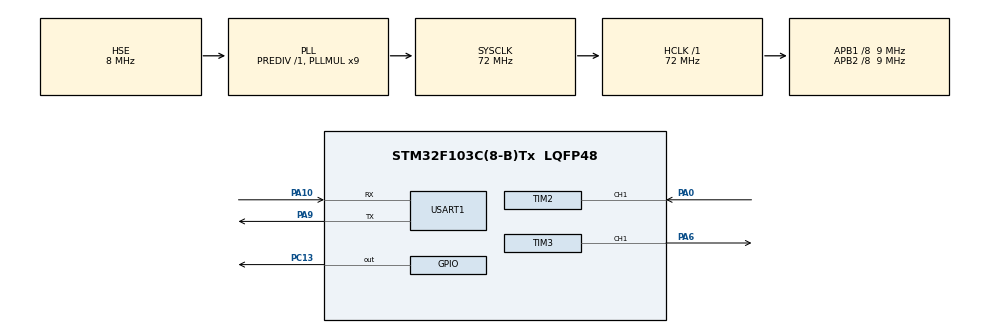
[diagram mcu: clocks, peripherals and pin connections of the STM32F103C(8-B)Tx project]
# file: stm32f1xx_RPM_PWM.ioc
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Mcu.Family=STM32F1
Mcu.Name=STM32F103C(8-B)Tx
Mcu.Package=LQFP48
NVIC.PriorityGroup=NVIC_PRIORITYGROUP_4
NVIC.TIM2_IRQn=true\:1\:0\:true\:false\:true\:true\:true
NVIC.USART1_IRQn=true\:2\:0\:true\:false\:false\:true\:false
PA0-WKUP.Signal=S_TIM2_CH1_ETR
PA10.Mode=Asynchronous
PA10.Signal=USART1_RX
PA13.Mode=Serial_Wire
PA13.Signal=SYS_JTMS-SWDIO
PA14.Mode=Serial_Wire
PA14.Signal=SYS_JTCK-SWCLK
PA6.GPIO_ModeDefaultPP=GPIO_MODE_AF_PP
PA6.Signal=S_TIM3_CH1
PA9.Mode=Asynchronous
PA9.Signal=USART1_TX
PC13-TAMPER-RTC.Signal=GPIO_Output
PD0-OSC_IN.Mode=HSE-External-Oscillator
PD0-OSC_IN.Signal=RCC_OSC_IN
PD1-OSC_OUT.Mode=HSE-External-Oscillator
PD1-OSC_OUT.Signal=RCC_OSC_OUT
ProjectManager.HeapSize=0x200
ProjectManager.StackSize=0x400
ProjectManager.TargetToolchain=STM32CubeIDE
RCC.AHBFreq_Value=72000000
RCC.APB1CLKDivider=RCC_HCLK_DIV8
RCC.APB1Freq_Value=9000000
RCC.APB1TimFreq_Value=18000000
RCC.APB2CLKDivider=RCC_HCLK_DIV8
RCC.APB2Freq_Value=9000000
RCC.APB2TimFreq_Value=18000000
RCC.HCLKFreq_Value=72000000
RCC.PLLMUL=RCC_PLL_MUL9
RCC.PLLSourceVirtual=RCC_PLLSOURCE_HSE
RCC.SYSCLKFreq_VALUE=72000000
RCC.SYSCLKSource=RCC_SYSCLKSOURCE_PLLCLK
RCC.USBFreq_Value=72000000
SH.S_TIM2_CH1_ETR.0=TIM2_CH1,Input_Capture1_from_TI1
SH.S_TIM2_CH1_ETR.1=TIM2_CH1,TriggerSource_TI1FP1
SH.S_TIM3_CH1.0=TIM3_CH1,PWM Generation1 CH1
TIM2.Channel-Input_Capture1_from_TI1=TIM_CHANNEL_1
TIM2.ICFilter_CH1=15
TIM2.ICPolarity_CH1=TIM_INPUTCHANNELPOLARITY_RISING
TIM2.Prescaler=179
TIM3.Channel-PWM\ Generation1\ CH1=TIM_CHANNEL_1
TIM3.OC1Preload_PWM=ENABLE
TIM3.Period=79
TIM3.Prescaler=8
TIM3.Pulse-PWM\ Generation1\ CH1=20
USART1.VirtualMode=VM_ASYNC
VP_TIM2_VS_ClockSourceINT.Mode=Internal
VP_TIM2_VS_ControllerModeReset.Mode=Reset Mode
VP_TIM3_VS_ClockSourceINT.Mode=Internal
board=custom

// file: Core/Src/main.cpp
/* USER CODE BEGIN Header */
/**
 *   control y monitoreo de velocidad motor de cpu (cuatro pines)
 *   en esta aplicacion se configura el el uart1 para trasnmitir el valor de las rpm
 *   y recibir uno o dos caracteres (texto) para convertirlo en entero y luego ser
 *   almacenado en el registro TIM3->CCR1 variando de esta forma el ancho de pulso.
 *   para esta ejemplo con el ventilador que utilice pude variar la velocidad del
 *   ventilador con un cambio en el ancho de pulso del 50 a 100% (1700 a 3500 rpm aprox)
 *   escribiendo valores de 40 a 79 en el registro TIM3->CCR1, cada paso representa
 *   un cambio en la modulacion del pulso de 0.5 us con una frecuencia de 25 khz.
 *
 *   el ventilador que use es de 4 hilos o cables negro=gnd , amarillo=12v,
 *   verde=sensor , azul=señal de control(pwm 25khz).
 *   la linea del sensor debe conectarce con una resistencia pull up de 5k aprox al
 *   pin PAO y la señar de salida pwm es PA6.
 *
 *   NOTA: observe que en la interfaz grafica en la ventana < NVIC Mode and configuration >
 *         esta deshabilitada  la casilla < Generate IRQhandler > para poder manejar
 *         la interrupcion del USART1 desde el archivo main.cpp, ademas se declara tambien
 *         la funcion USART1_IRQHandler( void ) en el main.h.
 *
 *   los demas parametros del los timers pueden ser obsevados y analizados desde
 *   la interfaz grafica
 *
 */
/* USER CODE END Header */
#include "main.h"

/* USER CODE BEGIN Includes */
#include "Serial.h"
#include <stdio.h>

/* USER CODE END Includes */

TIM_HandleTypeDef htim2;
TIM_HandleTypeDef htim3;

UART_HandleTypeDef huart1;

/* USER CODE BEGIN PV */

float periodo, valorCaptura;

uint16_t rpm;

Serial serial( &huart1 );

/* USER CODE END PV */

void SystemClock_Config(void);
static void MX_GPIO_Init(void);
static void MX_TIM2_Init(void);
static void MX_USART1_UART_Init(void);
static void MX_TIM3_Init(void);
/* USER CODE BEGIN PFP */

void HAL_TIM_IC_CaptureCallback( TIM_HandleTypeDef * htim );
void HAL_UART_RxCpltCallback( UART_HandleTypeDef * huart );
void USART1_IRQHandler( void );

/* USER CODE END PFP */

int main(void)
{

  /* MCU Configuration--------------------------------------------------------*/

  /* Reset of all peripherals, Initializes the Flash interface and the Systick. */
  HAL_Init();

  /* Configure the system clock */
  SystemClock_Config();

  /* Initialize all configured peripherals */
  MX_GPIO_Init();
  MX_TIM2_Init();
  MX_USART1_UART_Init();
  MX_TIM3_Init();
  /* USER CODE BEGIN 2 */
    /* inicia el timer en modo captura generando una interrupcion en cada flanco
     * de subida de la señal de entrada.
     */
    if ( HAL_TIM_IC_Start_IT( &htim2, TIM_CHANNEL_1 ) != HAL_OK )  //pin A0
    {
        /* Starting Error */
        Error_Handler();
    }
    /* inicia la señal pwm a 25 khz por el canal 1 */
    if ( HAL_TIM_PWM_Start( &htim3, TIM_CHANNEL_1 ) != HAL_OK )  //pin A0
    {
        /* Starting Error */
        Error_Handler();
    }
    /* en mi caso el valor desde donde empieza a variar la velocidad del ventilador
     *  es de 44 hasta 79  ( 1700 a 3500 aprox ) depende del ventilador
     *  utilizado
     */
    __HAL_TIM_SET_COMPARE( &htim3, TIM_CHANNEL_1, 60 ); // señal pwm 25 khz
    __HAL_UART_ENABLE_IT( &huart1, UART_IT_RXNE );
  /* USER CODE END 2 */

  /* Infinite loop */
  /* USER CODE BEGIN WHILE */
    while ( 1 )
    {
        /*
         *  multiplico el valor de la captura por 0.00001 para determinar el periodo
         * de la señal en segundos. el valor de 0.00001 es la resolucion del
         * contador , es decir que cada cuenta o paso del contador son 10 us.
         */
        periodo = valorCaptura * 0.00001; // calculamos el periodo en segundos
        rpm = 60 / periodo; // frecuencia = 1 / periodo --- rpm = 60 / periodo
        serial.print( "rpm: %d \r\n", rpm );
        HAL_Delay( 500 );
    /* USER CODE END WHILE */

    }
}

void SystemClock_Config(void)
{
  RCC_OscInitTypeDef RCC_OscInitStruct = {0};
  RCC_ClkInitTypeDef RCC_ClkInitStruct = {0};

  /** Initializes the RCC Oscillators according to the specified parameters
  * in the RCC_OscInitTypeDef structure.
  */
  RCC_OscInitStruct.OscillatorType = RCC_OSCILLATORTYPE_HSE;
  RCC_OscInitStruct.HSEState = RCC_HSE_ON;
  RCC_OscInitStruct.HSEPredivValue = RCC_HSE_PREDIV_DIV1;
  RCC_OscInitStruct.HSIState = RCC_HSI_ON;
  RCC_OscInitStruct.PLL.PLLState = RCC_PLL_ON;
  RCC_OscInitStruct.PLL.PLLSource = RCC_PLLSOURCE_HSE;
  RCC_OscInitStruct.PLL.PLLMUL = RCC_PLL_MUL9;
  if (HAL_RCC_OscConfig(&RCC_OscInitStruct) != HAL_OK)
  {
    Error_Handler();
  }
  /** Initializes the CPU, AHB and APB buses clocks
  */
  RCC_ClkInitStruct.ClockType = RCC_CLOCKTYPE_HCLK|RCC_CLOCKTYPE_SYSCLK
                              |RCC_CLOCKTYPE_PCLK1|RCC_CLOCKTYPE_PCLK2;
  RCC_ClkInitStruct.SYSCLKSource = RCC_SYSCLKSOURCE_PLLCLK;
  RCC_ClkInitStruct.AHBCLKDivider = RCC_SYSCLK_DIV1;
  RCC_ClkInitStruct.APB1CLKDivider = RCC_HCLK_DIV8;
  RCC_ClkInitStruct.APB2CLKDivider = RCC_HCLK_DIV8;

  if (HAL_RCC_ClockConfig(&RCC_ClkInitStruct, FLASH_LATENCY_2) != HAL_OK)
  {
    Error_Handler();
  }
}

static void MX_TIM2_Init(void)
{

  TIM_ClockConfigTypeDef sClockSourceConfig = {0};
  TIM_SlaveConfigTypeDef sSlaveConfig = {0};
  TIM_MasterConfigTypeDef sMasterConfig = {0};
  TIM_IC_InitTypeDef sConfigIC = {0};

  htim2.Instance = TIM2;
  htim2.Init.Prescaler = 179;
  htim2.Init.CounterMode = TIM_COUNTERMODE_UP;
  htim2.Init.Period = 65535;
  htim2.Init.ClockDivision = TIM_CLOCKDIVISION_DIV1;
  htim2.Init.AutoReloadPreload = TIM_AUTORELOAD_PRELOAD_DISABLE;
  if (HAL_TIM_Base_Init(&htim2) != HAL_OK)
  {
    Error_Handler();
  }
  sClockSourceConfig.ClockSource = TIM_CLOCKSOURCE_INTERNAL;
  if (HAL_TIM_ConfigClockSource(&htim2, &sClockSourceConfig) != HAL_OK)
  {
    Error_Handler();
  }
  if (HAL_TIM_IC_Init(&htim2) != HAL_OK)
  {
    Error_Handler();
  }
  sSlaveConfig.SlaveMode = TIM_SLAVEMODE_RESET;
  sSlaveConfig.InputTrigger = TIM_TS_TI1FP1;
  sSlaveConfig.TriggerPolarity = TIM_INPUTCHANNELPOLARITY_RISING;
  sSlaveConfig.TriggerFilter = 0;
  if (HAL_TIM_SlaveConfigSynchro(&htim2, &sSlaveConfig) != HAL_OK)
  {
    Error_Handler();
  }
  sMasterConfig.MasterOutputTrigger = TIM_TRGO_RESET;
  sMasterConfig.MasterSlaveMode = TIM_MASTERSLAVEMODE_DISABLE;
  if (HAL_TIMEx_MasterConfigSynchronization(&htim2, &sMasterConfig) != HAL_OK)
  {
    Error_Handler();
  }
  sConfigIC.ICPolarity = TIM_INPUTCHANNELPOLARITY_RISING;
  sConfigIC.ICSelection = TIM_ICSELECTION_DIRECTTI;
  sConfigIC.ICPrescaler = TIM_ICPSC_DIV1;
  sConfigIC.ICFilter = 15;
  if (HAL_TIM_IC_ConfigChannel(&htim2, &sConfigIC, TIM_CHANNEL_1) != HAL_OK)
  {
    Error_Handler();
  }

}

static void MX_TIM3_Init(void)
{

  TIM_ClockConfigTypeDef sClockSourceConfig = {0};
  TIM_MasterConfigTypeDef sMasterConfig = {0};
  TIM_OC_InitTypeDef sConfigOC = {0};

  htim3.Instance = TIM3;
  htim3.Init.Prescaler = 8;
  htim3.Init.CounterMode = TIM_COUNTERMODE_UP;
  htim3.Init.Period = 79;
  htim3.Init.ClockDivision = TIM_CLOCKDIVISION_DIV1;
  htim3.Init.AutoReloadPreload = TIM_AUTORELOAD_PRELOAD_DISABLE;
  if (HAL_TIM_Base_Init(&htim3) != HAL_OK)
  {
    Error_Handler();
  }
  sClockSourceConfig.ClockSource = TIM_CLOCKSOURCE_INTERNAL;
  if (HAL_TIM_ConfigClockSource(&htim3, &sClockSourceConfig) != HAL_OK)
  {
    Error_Handler();
  }
  if (HAL_TIM_PWM_Init(&htim3) != HAL_OK)
  {
    Error_Handler();
  }
  sMasterConfig.MasterOutputTrigger = TIM_TRGO_RESET;
  sMasterConfig.MasterSlaveMode = TIM_MASTERSLAVEMODE_DISABLE;
  if (HAL_TIMEx_MasterConfigSynchronization(&htim3, &sMasterConfig) != HAL_OK)
  {
    Error_Handler();
  }
  sConfigOC.OCMode = TIM_OCMODE_PWM1;
  sConfigOC.Pulse = 20;
  sConfigOC.OCPolarity = TIM_OCPOLARITY_HIGH;
  sConfigOC.OCFastMode = TIM_OCFAST_DISABLE;
  if (HAL_TIM_PWM_ConfigChannel(&htim3, &sConfigOC, TIM_CHANNEL_1) != HAL_OK)
  {
    Error_Handler();
  }
  HAL_TIM_MspPostInit(&htim3);

}

static void MX_USART1_UART_Init(void)
{

  huart1.Instance = USART1;
  huart1.Init.BaudRate = 115200;
  huart1.Init.WordLength = UART_WORDLENGTH_8B;
  huart1.Init.StopBits = UART_STOPBITS_1;
  huart1.Init.Parity = UART_PARITY_NONE;
  huart1.Init.Mode = UART_MODE_TX_RX;
  huart1.Init.HwFlowCtl = UART_HWCONTROL_NONE;
  huart1.Init.OverSampling = UART_OVERSAMPLING_16;
  if (HAL_UART_Init(&huart1) != HAL_OK)
  {
    Error_Handler();
  }

}

static void MX_GPIO_Init(void)
{
  GPIO_InitTypeDef GPIO_InitStruct = {0};

  /* GPIO Ports Clock Enable */
  __HAL_RCC_GPIOC_CLK_ENABLE();
  __HAL_RCC_GPIOD_CLK_ENABLE();
  __HAL_RCC_GPIOA_CLK_ENABLE();

  /*Configure GPIO pin Output Level */
  HAL_GPIO_WritePin(GPIOC, GPIO_PIN_13, GPIO_PIN_RESET);

  /*Configure GPIO pin : PC13 */
  GPIO_InitStruct.Pin = GPIO_PIN_13;
  GPIO_InitStruct.Mode = GPIO_MODE_OUTPUT_PP;
  GPIO_InitStruct.Pull = GPIO_NOPULL;
  GPIO_InitStruct.Speed = GPIO_SPEED_FREQ_LOW;
  HAL_GPIO_Init(GPIOC, &GPIO_InitStruct);

}

/* USER CODE BEGIN 4 */

void HAL_TIM_IC_CaptureCallback( TIM_HandleTypeDef * htim )
{
    /* verifica que la captura sea del canal 1 */
    if ( htim->Channel == HAL_TIM_ACTIVE_CHANNEL_1 )
    {
        valorCaptura = HAL_TIM_ReadCapturedValue( htim, TIM_CHANNEL_1 );
    }
}

void USART1_IRQHandler( void )
{
    uint8_t pData[10];
    uint16_t val_ccr1;
    /* limpia el array */
    memset( pData, 0, sizeof( pData ) );
    /* verifica que la fuente de interrupcion fue por la
     * recepcion de datos.
     */
    if ( __HAL_UART_GET_IT_SOURCE( &huart1, UART_IT_RXNE ) )
    {
        serial.receive( pData, 1, INTER_BYTE_TIMEOUT );
        val_ccr1 = atoi( (char*) pData ); //convierte a entero el valor recibido
       /* almaceno el valor en el registro TIM3->CCR1 */
        __HAL_TIM_SET_COMPARE( &htim3, TIM_CHANNEL_1, val_ccr1 );

    }

    serial.print( pData ); // imprimo el valor reibido
    /* limpia las interuupciones pendientes por el usart1 */
    HAL_NVIC_ClearPendingIRQ (USART1_IRQn); //

}

/* USER CODE END 4 */

void Error_Handler(void)
{
}

/************************ (C) COPYRIGHT STMicroelectronics *****END OF FILE****/
